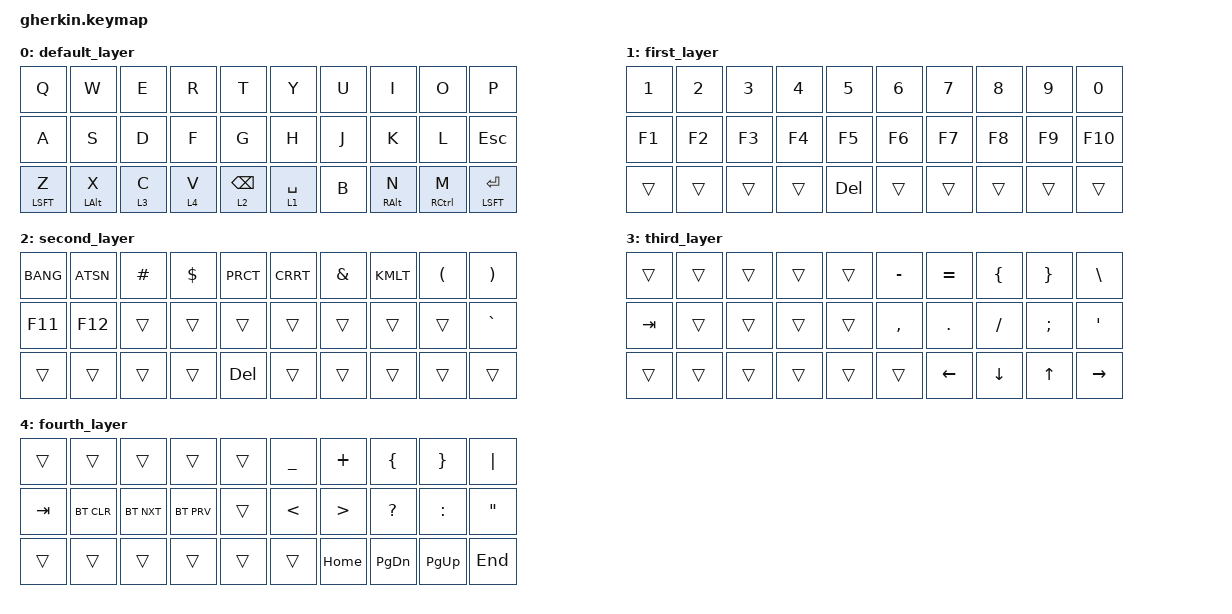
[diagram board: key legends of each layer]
/*
 * Copyright (c) 2020 The ZMK Contributors
 *
 * SPDX-License-Identifier: MIT
 */

#include <behaviors.dtsi>
#include <dt-bindings/zmk/keys.h>
#include <dt-bindings/zmk/bt.h>

/ {
    keymap {
        compatible = "zmk,keymap";

        default_layer {
            bindings = <&kp Q &kp W &kp E &kp R &kp T &kp Y &kp U &kp I &kp O &kp P 
                        &kp A &kp S &kp D &kp F &kp G &kp H &kp J &kp K &kp L &kp ESC 
                        &mt LSFT Z &mt LALT X &lt 3 C &lt 4 V &lt 2 BSPC &lt 1 SPACE &kp B &mt RALT N &mt RCTL M &mt LSFT RET
                        >;
        };

        first_layer {
            bindings =
                <&kp N1 &kp N2 &kp N3 &kp N4 &kp N5 &kp N6 &kp N7 &kp N8 &kp N9 &kp N0
                 &kp F1 &kp F2 &kp F3 &kp F4 &kp F5 &kp F6 &kp F7 &kp F8 &kp F9 &kp F10
                 &trans &trans &trans &trans &kp DEL &trans &trans &trans &trans &trans
                 >;
        };

        second_layer {
            bindings = <&kp BANG &kp ATSN &kp HASH &kp DLLR &kp PRCT &kp CRRT &kp AMPS 
                        &kp KMLT &kp LPRN &kp RPRN &kp F11 &kp F12 &trans &trans &trans 
                        &trans &trans &trans &trans &kp GRAVE &trans &trans &trans &trans 
                        &kp DEL &trans &trans &trans &trans &trans
                        >;
        };

        third_layer {
            bindings =
                <&trans &trans &trans &trans &trans &kp MINUS &kp EQL &kp LBRC &kp RBRC
                 &kp BSLH &kp TAB &trans &trans &trans &trans &kp COMMA &kp DOT &kp SLASH
                 &kp SCLN &kp APOS &trans &trans &trans &trans &trans &trans &kp LEFT_ARROW
                 &kp DOWN_ARROW &kp UP_ARROW &kp RIGHT_ARROW
                 >;
        };

        fourth_layer {
            bindings = <&trans &trans &trans &trans &trans &kp UNDERSCORE &kp PLUS &kp LBRC
                        &kp RBRC &kp PIPE &kp TAB &bt BT_CLR &bt BT_NXT &bt BT_PRV &trans
                        &kp LT &kp GT &kp QMARK &kp COLON &kp DQT &trans &trans &trans
                        &trans &trans &trans &kp HOME &kp PG_DN &kp PG_UP &kp END

                        >;
        };
    };
};
